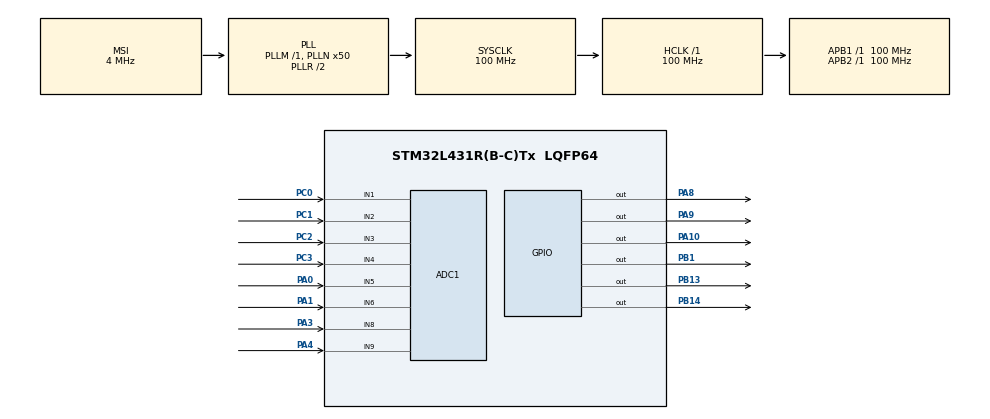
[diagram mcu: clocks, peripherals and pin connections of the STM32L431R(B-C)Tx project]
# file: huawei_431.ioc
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ADC1.Channel-0\#ChannelRegularConversion=ADC_CHANNEL_1
ADC1.Channel-1\#ChannelRegularConversion=ADC_CHANNEL_2
ADC1.Channel-2\#ChannelRegularConversion=ADC_CHANNEL_3
ADC1.Channel-3\#ChannelRegularConversion=ADC_CHANNEL_4
ADC1.Channel-4\#ChannelRegularConversion=ADC_CHANNEL_5
ADC1.Channel-5\#ChannelRegularConversion=ADC_CHANNEL_6
ADC1.Channel-6\#ChannelRegularConversion=ADC_CHANNEL_8
ADC1.Channel-7\#ChannelRegularConversion=ADC_CHANNEL_9
ADC1.ContinuousConvMode=ENABLE
ADC1.DMAContinuousRequests=DISABLE
ADC1.NbrOfConversion=8
ADC1.NbrOfConversionFlag=1
ADC1.OffsetNumber-0\#ChannelRegularConversion=ADC_OFFSET_NONE
ADC1.OffsetNumber-1\#ChannelRegularConversion=ADC_OFFSET_NONE
ADC1.OffsetNumber-2\#ChannelRegularConversion=ADC_OFFSET_NONE
ADC1.OffsetNumber-3\#ChannelRegularConversion=ADC_OFFSET_NONE
ADC1.OffsetNumber-4\#ChannelRegularConversion=ADC_OFFSET_NONE
ADC1.OffsetNumber-5\#ChannelRegularConversion=ADC_OFFSET_NONE
ADC1.OffsetNumber-6\#ChannelRegularConversion=ADC_OFFSET_NONE
ADC1.OffsetNumber-7\#ChannelRegularConversion=ADC_OFFSET_NONE
ADC1.OversamplingMode=ENABLE
ADC1.Rank-0\#ChannelRegularConversion=1
ADC1.Rank-1\#ChannelRegularConversion=2
ADC1.Rank-2\#ChannelRegularConversion=3
ADC1.Rank-3\#ChannelRegularConversion=4
ADC1.Rank-4\#ChannelRegularConversion=5
ADC1.Rank-5\#ChannelRegularConversion=6
ADC1.Rank-6\#ChannelRegularConversion=7
ADC1.Rank-7\#ChannelRegularConversion=8
ADC1.Ratio=ADC_OVERSAMPLING_RATIO_8
ADC1.RightBitShift=ADC_RIGHTBITSHIFT_3
ADC1.SamplingTime-0\#ChannelRegularConversion=ADC_SAMPLETIME_6CYCLES_5
ADC1.SamplingTime-1\#ChannelRegularConversion=ADC_SAMPLETIME_6CYCLES_5
ADC1.SamplingTime-2\#ChannelRegularConversion=ADC_SAMPLETIME_6CYCLES_5
ADC1.SamplingTime-3\#ChannelRegularConversion=ADC_SAMPLETIME_6CYCLES_5
ADC1.SamplingTime-4\#ChannelRegularConversion=ADC_SAMPLETIME_6CYCLES_5
ADC1.SamplingTime-5\#ChannelRegularConversion=ADC_SAMPLETIME_6CYCLES_5
ADC1.SamplingTime-6\#ChannelRegularConversion=ADC_SAMPLETIME_6CYCLES_5
ADC1.SamplingTime-7\#ChannelRegularConversion=ADC_SAMPLETIME_6CYCLES_5
ADC1.master=1
Mcu.Family=STM32L4
Mcu.Name=STM32L431R(B-C)Tx
Mcu.Package=LQFP64
NVIC.PriorityGroup=NVIC_PRIORITYGROUP_4
NVIC.TIM1_UP_TIM16_IRQn=true\:0\:0\:false\:false\:true\:true\:true\:true
NVIC.TIM7_IRQn=true\:1\:0\:true\:false\:true\:true\:true\:true
PA0.Signal=ADCx_IN5
PA1.Signal=ADCx_IN6
PA10.GPIO_Speed=GPIO_SPEED_FREQ_VERY_HIGH
PA10.Signal=GPIO_Output
PA13\ (JTMS-SWDIO).Mode=Serial_Wire
PA13\ (JTMS-SWDIO).Signal=SYS_JTMS-SWDIO
PA14\ (JTCK-SWCLK).Mode=Serial_Wire
PA14\ (JTCK-SWCLK).Signal=SYS_JTCK-SWCLK
PA3.Signal=ADCx_IN8
PA4.Signal=ADCx_IN9
PA8.GPIO_Speed=GPIO_SPEED_FREQ_VERY_HIGH
PA8.PinState=GPIO_PIN_RESET
PA8.Signal=GPIO_Output
PA9.GPIO_Speed=GPIO_SPEED_FREQ_VERY_HIGH
PA9.Signal=GPIO_Output
PB1.GPIO_Speed=GPIO_SPEED_FREQ_VERY_HIGH
PB1.Signal=GPIO_Output
PB13.GPIO_Speed=GPIO_SPEED_FREQ_VERY_HIGH
PB13.Signal=GPIO_Output
PB14.GPIO_Speed=GPIO_SPEED_FREQ_VERY_HIGH
PB14.Signal=GPIO_Output
PC0.Signal=ADCx_IN1
PC1.Signal=ADCx_IN2
PC2.Signal=ADCx_IN3
PC3.Signal=ADCx_IN4
ProjectManager.HeapSize=0x200
ProjectManager.StackSize=0x400
ProjectManager.TargetToolchain=CMake
RCC.ADCFreq_Value=48000000
RCC.AHBFreq_Value=100000000
RCC.APB1Freq_Value=100000000
RCC.APB1TimFreq_Value=100000000
RCC.APB2Freq_Value=100000000
RCC.APB2TimFreq_Value=100000000
RCC.CortexFreq_Value=100000000
RCC.HCLKFreq_Value=100000000
RCC.HSE_VALUE=8000000
RCC.HSI48_VALUE=48000000
RCC.HSI_VALUE=16000000
RCC.LSE_VALUE=32768
RCC.MSI_VALUE=4000000
RCC.PLLN=50
RCC.PLLSAI1N=24
RCC.SYSCLKFreq_VALUE=100000000
RCC.SYSCLKSource=RCC_SYSCLKSOURCE_PLLCLK
RCC.VCOOutputFreq_Value=200000000
SH.ADCx_IN1.0=ADC1_IN1,IN1-Single-Ended
SH.ADCx_IN2.0=ADC1_IN2,IN2-Single-Ended
SH.ADCx_IN3.0=ADC1_IN3,IN3-Single-Ended
SH.ADCx_IN4.0=ADC1_IN4,IN4-Single-Ended
SH.ADCx_IN5.0=ADC1_IN5,IN5-Single-Ended
SH.ADCx_IN6.0=ADC1_IN6,IN6-Single-Ended
SH.ADCx_IN8.0=ADC1_IN8,IN8-Single-Ended
SH.ADCx_IN9.0=ADC1_IN9,IN9-Single-Ended
TIM1.AutoReloadPreload=TIM_AUTORELOAD_PRELOAD_ENABLE
TIM1.Period=200-1
TIM7.AutoReloadPreload=TIM_AUTORELOAD_PRELOAD_ENABLE
TIM7.Period=10000-1
TIM7.Prescaler=10-1
VP_TIM1_VS_ClockSourceINT.Mode=Internal
VP_TIM7_VS_ClockSourceINT.Mode=Enable_Timer
board=custom

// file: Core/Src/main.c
/* USER CODE BEGIN Header */
/**
  ******************************************************************************
  * @file           : main.c
  * @brief          : Main program body
  ******************************************************************************
  * @attention
  *
  * Copyright (c) 2026 STMicroelectronics.
  * All rights reserved.
  *
  * This software is licensed under terms that can be found in the LICENSE file
  * in the root directory of this software component.
  * If no LICENSE file accompanies this software, it is provided AS-IS.
  *
  ******************************************************************************
  */
/* USER CODE END Header */
#include "main.h"

/* USER CODE BEGIN Includes */
#include "arm_math.h"
/* USER CODE END Includes */

/* USER CODE BEGIN PM */
// ========== TCM ZVS 全桥逆变器参数 ==========
// 正半周用对角1(AH+BL)，负半周用对角2(AL+BH)
volatile float32_t g_out_freq_hz = 50.0f;      // 输出频率 50Hz
volatile float32_t g_fsw_center = 10000.0f;   // 中心频率 10kHz
volatile float32_t g_fsw_delta = 10000.0f;     // 频率变化量 10kHz
volatile float32_t g_voltage_output = 0.8f;    // 电压控制 0~1
volatile float32_t g_duty_cycle = 0.8f;        // 基础占空比 30%

// ========== Sin/Cos查表 (360点，每度一个值) ==========
#define SIN_TABLE_SIZE 360
static const float32_t sin_table[360] = {
    0.0000f, 0.0175f, 0.0349f, 0.0523f, 0.0698f, 0.0872f, 0.1045f, 0.1219f, 0.1392f, 0.1564f,
    0.1736f, 0.1908f, 0.2079f, 0.2250f, 0.2419f, 0.2588f, 0.2756f, 0.2924f, 0.3090f, 0.3256f,
    0.3420f, 0.3584f, 0.3746f, 0.3907f, 0.4067f, 0.4226f, 0.4384f, 0.4540f, 0.4695f, 0.4848f,
    0.5000f, 0.5150f, 0.5299f, 0.5446f, 0.5592f, 0.5736f, 0.5878f, 0.6018f, 0.6157f, 0.6293f,
    0.6428f, 0.6561f, 0.6691f, 0.6820f, 0.6947f, 0.7071f, 0.7193f, 0.7314f, 0.7431f, 0.7547f,
    0.7660f, 0.7771f, 0.7880f, 0.7986f, 0.8090f, 0.8192f, 0.8290f, 0.8387f, 0.8480f, 0.8572f,
    0.8660f, 0.8746f, 0.8829f, 0.8910f, 0.8988f, 0.9063f, 0.9135f, 0.9205f, 0.9272f, 0.9336f,
    0.9397f, 0.9455f, 0.9511f, 0.9563f, 0.9613f, 0.9659f, 0.9703f, 0.9744f, 0.9781f, 0.9816f,
    0.9848f, 0.9877f, 0.9903f, 0.9925f, 0.9945f, 0.9962f, 0.9976f, 0.9986f, 0.9994f, 0.9998f,
    1.0000f, 0.9998f, 0.9994f, 0.9986f, 0.9976f, 0.9962f, 0.9945f, 0.9925f, 0.9903f, 0.9877f,
    0.9848f, 0.9816f, 0.9781f, 0.9744f, 0.9703f, 0.9659f, 0.9613f, 0.9563f, 0.9511f, 0.9455f,
    0.9397f, 0.9336f, 0.9272f, 0.9205f, 0.9135f, 0.9063f, 0.8988f, 0.8910f, 0.8829f, 0.8746f,
    0.8660f, 0.8572f, 0.8480f, 0.8387f, 0.8290f, 0.8192f, 0.8090f, 0.7986f, 0.7880f, 0.7771f,
    0.7660f, 0.7547f, 0.7431f, 0.7314f, 0.7193f, 0.7071f, 0.6947f, 0.6820f, 0.6691f, 0.6561f,
    0.6428f, 0.6293f, 0.6157f, 0.6018f, 0.5878f, 0.5736f, 0.5592f, 0.5446f, 0.5299f, 0.5150f,
    0.5000f, 0.4848f, 0.4695f, 0.4540f, 0.4384f, 0.4226f, 0.4067f, 0.3907f, 0.3746f, 0.3584f,
    0.3420f, 0.3256f, 0.3090f, 0.2924f, 0.2756f, 0.2588f, 0.2419f, 0.2250f, 0.2079f, 0.1908f,
    0.1736f, 0.1564f, 0.1392f, 0.1219f, 0.1045f, 0.0872f, 0.0698f, 0.0523f, 0.0349f, 0.0175f,
    0.0000f,-0.0175f,-0.0349f,-0.0523f,-0.0698f,-0.0872f,-0.1045f,-0.1219f,-0.1392f,-0.1564f,
   -0.1736f,-0.1908f,-0.2079f,-0.2250f,-0.2419f,-0.2588f,-0.2756f,-0.2924f,-0.3090f,-0.3256f,
   -0.3420f,-0.3584f,-0.3746f,-0.3907f,-0.4067f,-0.4226f,-0.4384f,-0.4540f,-0.4695f,-0.4848f,
   -0.5000f,-0.5150f,-0.5299f,-0.5446f,-0.5592f,-0.5736f,-0.5878f,-0.6018f,-0.6157f,-0.6293f,
   -0.6428f,-0.6561f,-0.6691f,-0.6820f,-0.6947f,-0.7071f,-0.7193f,-0.7314f,-0.7431f,-0.7547f,
   -0.7660f,-0.7771f,-0.7880f,-0.7986f,-0.8090f,-0.8192f,-0.8290f,-0.8387f,-0.8480f,-0.8572f,
   -0.8660f,-0.8746f,-0.8829f,-0.8910f,-0.8988f,-0.9063f,-0.9135f,-0.9205f,-0.9272f,-0.9336f,
   -0.9397f,-0.9455f,-0.9511f,-0.9563f,-0.9613f,-0.9659f,-0.9703f,-0.9744f,-0.9781f,-0.9816f,
   -0.9848f,-0.9877f,-0.9903f,-0.9925f,-0.9945f,-0.9962f,-0.9976f,-0.9986f,-0.9994f,-0.9998f,
   -1.0000f,-0.9998f,-0.9994f,-0.9986f,-0.9976f,-0.9962f,-0.9945f,-0.9925f,-0.9903f,-0.9877f,
   -0.9848f,-0.9816f,-0.9781f,-0.9744f,-0.9703f,-0.9659f,-0.9613f,-0.9563f,-0.9511f,-0.9455f,
   -0.9397f,-0.9336f,-0.9272f,-0.9205f,-0.9135f,-0.9063f,-0.8988f,-0.8910f,-0.8829f,-0.8746f,
   -0.8660f,-0.8572f,-0.8480f,-0.8387f,-0.8290f,-0.8192f,-0.8090f,-0.7986f,-0.7880f,-0.7771f,
   -0.7660f,-0.7547f,-0.7431f,-0.7314f,-0.7193f,-0.7071f,-0.6947f,-0.6820f,-0.6691f,-0.6561f,
   -0.6428f,-0.6293f,-0.6157f,-0.6018f,-0.5878f,-0.5736f,-0.5592f,-0.5446f,-0.5299f,-0.5150f,
   -0.5000f,-0.4848f,-0.4695f,-0.4540f,-0.4384f,-0.4226f,-0.4067f,-0.3907f,-0.3746f,-0.3584f,
   -0.3420f,-0.3256f,-0.3090f,-0.2924f,-0.2756f,-0.2588f,-0.2419f,-0.2250f,-0.2079f,-0.1908f,
   -0.1736f,-0.1564f,-0.1392f,-0.1219f,-0.1045f,-0.0872f,-0.0698f,-0.0523f,-0.0349f,-0.0175f
};
// cos表 = sin表偏移90度
#define cos_table(idx) sin_table[((idx) + 90) % 360]

// ========== 单相+180°互补时钟 ==========
// TIM1中断频率 = 500kHz（ARR=200-1, 100MHz/200=500kHz）
#define TIM1_IRQ_FREQ   500000.0f

// 计数器和状态
volatile uint16_t g_phase_cnt = 0;
volatile uint16_t g_period = 40;
volatile uint16_t g_high_cnt = 12;

// 当前使用的对角 (0=都不, 1=对角1/正半周, 2=对角2/负半周)
volatile uint8_t g_active_diag = 1;

// 输出状态
#define STATE_HIGH      0
#define STATE_LOW       2
volatile uint8_t g_state = STATE_HIGH;

// ========== 单相互补PWM GPIO引脚定义 ==========
// A相: 高侧PA8, 低侧PB13
#define GPIO_AH_PORT    GPIOA
#define GPIO_AH_PIN     GPIO_PIN_8
#define GPIO_AL_PORT    GPIOB
#define GPIO_AL_PIN     GPIO_PIN_13

// B相(180°互补): 高侧PA9, 低侧PB14
#define GPIO_BH_PORT    GPIOA
#define GPIO_BH_PIN     GPIO_PIN_9
#define GPIO_BL_PORT    GPIOB
#define GPIO_BL_PIN     GPIO_PIN_14
/* USER CODE END PM */

ADC_HandleTypeDef hadc1;

TIM_HandleTypeDef htim1;
TIM_HandleTypeDef htim7;

void SystemClock_Config(void);
static void MX_GPIO_Init(void);
static void MX_ADC1_Init(void);
static void MX_TIM1_Init(void);
static void MX_TIM7_Init(void);

int main(void)
{

  /* MCU Configuration--------------------------------------------------------*/

  /* Reset of all peripherals, Initializes the Flash interface and the Systick. */
  HAL_Init();

  /* Configure the system clock */
  SystemClock_Config();

  /* Initialize all configured peripherals */
  MX_GPIO_Init();
  MX_ADC1_Init();
  MX_TIM1_Init();
  MX_TIM7_Init();
  /* USER CODE BEGIN 2 */
  HAL_TIM_Base_Start_IT(&htim1);
  HAL_TIM_Base_Start_IT(&htim7);
  /* USER CODE END 2 */

  /* Infinite loop */
  while (1)
  {

  }
}

void SystemClock_Config(void)
{
  RCC_OscInitTypeDef RCC_OscInitStruct = {0};
  RCC_ClkInitTypeDef RCC_ClkInitStruct = {0};

  /** Configure the main internal regulator output voltage
  */
  if (HAL_PWREx_ControlVoltageScaling(PWR_REGULATOR_VOLTAGE_SCALE1) != HAL_OK)
  {
    Error_Handler();
  }

  /** Initializes the RCC Oscillators according to the specified parameters
  * in the RCC_OscInitTypeDef structure.
  */
  RCC_OscInitStruct.OscillatorType = RCC_OSCILLATORTYPE_MSI;
  RCC_OscInitStruct.MSIState = RCC_MSI_ON;
  RCC_OscInitStruct.MSICalibrationValue = 0;
  RCC_OscInitStruct.MSIClockRange = RCC_MSIRANGE_6;
  RCC_OscInitStruct.PLL.PLLState = RCC_PLL_ON;
  RCC_OscInitStruct.PLL.PLLSource = RCC_PLLSOURCE_MSI;
  RCC_OscInitStruct.PLL.PLLM = 1;
  RCC_OscInitStruct.PLL.PLLN = 50;
  RCC_OscInitStruct.PLL.PLLP = RCC_PLLP_DIV7;
  RCC_OscInitStruct.PLL.PLLQ = RCC_PLLQ_DIV2;
  RCC_OscInitStruct.PLL.PLLR = RCC_PLLR_DIV2;
  if (HAL_RCC_OscConfig(&RCC_OscInitStruct) != HAL_OK)
  {
    Error_Handler();
  }

  /** Initializes the CPU, AHB and APB buses clocks
  */
  RCC_ClkInitStruct.ClockType = RCC_CLOCKTYPE_HCLK|RCC_CLOCKTYPE_SYSCLK
                              |RCC_CLOCKTYPE_PCLK1|RCC_CLOCKTYPE_PCLK2;
  RCC_ClkInitStruct.SYSCLKSource = RCC_SYSCLKSOURCE_PLLCLK;
  RCC_ClkInitStruct.AHBCLKDivider = RCC_SYSCLK_DIV1;
  RCC_ClkInitStruct.APB1CLKDivider = RCC_HCLK_DIV1;
  RCC_ClkInitStruct.APB2CLKDivider = RCC_HCLK_DIV1;

  if (HAL_RCC_ClockConfig(&RCC_ClkInitStruct, FLASH_LATENCY_4) != HAL_OK)
  {
    Error_Handler();
  }
}

static void MX_ADC1_Init(void)
{

  ADC_ChannelConfTypeDef sConfig = {0};

  /** Common config
  */
  hadc1.Instance = ADC1;
  hadc1.Init.ClockPrescaler = ADC_CLOCK_ASYNC_DIV1;
  hadc1.Init.Resolution = ADC_RESOLUTION_12B;
  hadc1.Init.DataAlign = ADC_DATAALIGN_RIGHT;
  hadc1.Init.ScanConvMode = ADC_SCAN_ENABLE;
  hadc1.Init.EOCSelection = ADC_EOC_SINGLE_CONV;
  hadc1.Init.LowPowerAutoWait = DISABLE;
  hadc1.Init.ContinuousConvMode = ENABLE;
  hadc1.Init.NbrOfConversion = 8;
  hadc1.Init.DiscontinuousConvMode = DISABLE;
  hadc1.Init.ExternalTrigConv = ADC_SOFTWARE_START;
  hadc1.Init.ExternalTrigConvEdge = ADC_EXTERNALTRIGCONVEDGE_NONE;
  hadc1.Init.DMAContinuousRequests = DISABLE;
  hadc1.Init.Overrun = ADC_OVR_DATA_PRESERVED;
  hadc1.Init.OversamplingMode = ENABLE;
  hadc1.Init.Oversampling.Ratio = ADC_OVERSAMPLING_RATIO_8;
  hadc1.Init.Oversampling.RightBitShift = ADC_RIGHTBITSHIFT_3;
  hadc1.Init.Oversampling.TriggeredMode = ADC_TRIGGEREDMODE_SINGLE_TRIGGER;
  hadc1.Init.Oversampling.OversamplingStopReset = ADC_REGOVERSAMPLING_CONTINUED_MODE;
  if (HAL_ADC_Init(&hadc1) != HAL_OK)
  {
    Error_Handler();
  }

  /** Configure Regular Channel
  */
  sConfig.Channel = ADC_CHANNEL_1;
  sConfig.Rank = ADC_REGULAR_RANK_1;
  sConfig.SamplingTime = ADC_SAMPLETIME_6CYCLES_5;
  sConfig.SingleDiff = ADC_SINGLE_ENDED;
  sConfig.OffsetNumber = ADC_OFFSET_NONE;
  sConfig.Offset = 0;
  if (HAL_ADC_ConfigChannel(&hadc1, &sConfig) != HAL_OK)
  {
    Error_Handler();
  }

  /** Configure Regular Channel
  */
  sConfig.Channel = ADC_CHANNEL_2;
  sConfig.Rank = ADC_REGULAR_RANK_2;
  if (HAL_ADC_ConfigChannel(&hadc1, &sConfig) != HAL_OK)
  {
    Error_Handler();
  }

  /** Configure Regular Channel
  */
  sConfig.Channel = ADC_CHANNEL_3;
  sConfig.Rank = ADC_REGULAR_RANK_3;
  if (HAL_ADC_ConfigChannel(&hadc1, &sConfig) != HAL_OK)
  {
    Error_Handler();
  }

  /** Configure Regular Channel
  */
  sConfig.Channel = ADC_CHANNEL_4;
  sConfig.Rank = ADC_REGULAR_RANK_4;
  if (HAL_ADC_ConfigChannel(&hadc1, &sConfig) != HAL_OK)
  {
    Error_Handler();
  }

  /** Configure Regular Channel
  */
  sConfig.Channel = ADC_CHANNEL_5;
  sConfig.Rank = ADC_REGULAR_RANK_5;
  if (HAL_ADC_ConfigChannel(&hadc1, &sConfig) != HAL_OK)
  {
    Error_Handler();
  }

  /** Configure Regular Channel
  */
  sConfig.Channel = ADC_CHANNEL_6;
  sConfig.Rank = ADC_REGULAR_RANK_6;
  if (HAL_ADC_ConfigChannel(&hadc1, &sConfig) != HAL_OK)
  {
    Error_Handler();
  }

  /** Configure Regular Channel
  */
  sConfig.Channel = ADC_CHANNEL_8;
  sConfig.Rank = ADC_REGULAR_RANK_7;
  if (HAL_ADC_ConfigChannel(&hadc1, &sConfig) != HAL_OK)
  {
    Error_Handler();
  }

  /** Configure Regular Channel
  */
  sConfig.Channel = ADC_CHANNEL_9;
  sConfig.Rank = ADC_REGULAR_RANK_8;
  if (HAL_ADC_ConfigChannel(&hadc1, &sConfig) != HAL_OK)
  {
    Error_Handler();
  }

}

static void MX_TIM1_Init(void)
{

  TIM_ClockConfigTypeDef sClockSourceConfig = {0};
  TIM_MasterConfigTypeDef sMasterConfig = {0};

  htim1.Instance = TIM1;
  htim1.Init.Prescaler = 0;
  htim1.Init.CounterMode = TIM_COUNTERMODE_UP;
  htim1.Init.Period = 200-1;
  htim1.Init.ClockDivision = TIM_CLOCKDIVISION_DIV1;
  htim1.Init.RepetitionCounter = 0;
  htim1.Init.AutoReloadPreload = TIM_AUTORELOAD_PRELOAD_ENABLE;
  if (HAL_TIM_Base_Init(&htim1) != HAL_OK)
  {
    Error_Handler();
  }
  sClockSourceConfig.ClockSource = TIM_CLOCKSOURCE_INTERNAL;
  if (HAL_TIM_ConfigClockSource(&htim1, &sClockSourceConfig) != HAL_OK)
  {
    Error_Handler();
  }
  sMasterConfig.MasterOutputTrigger = TIM_TRGO_RESET;
  sMasterConfig.MasterOutputTrigger2 = TIM_TRGO2_RESET;
  sMasterConfig.MasterSlaveMode = TIM_MASTERSLAVEMODE_DISABLE;
  if (HAL_TIMEx_MasterConfigSynchronization(&htim1, &sMasterConfig) != HAL_OK)
  {
    Error_Handler();
  }

}

static void MX_TIM7_Init(void)
{

  TIM_MasterConfigTypeDef sMasterConfig = {0};

  htim7.Instance = TIM7;
  htim7.Init.Prescaler = 10-1;
  htim7.Init.CounterMode = TIM_COUNTERMODE_UP;
  htim7.Init.Period = 10000-1;
  htim7.Init.AutoReloadPreload = TIM_AUTORELOAD_PRELOAD_ENABLE;
  if (HAL_TIM_Base_Init(&htim7) != HAL_OK)
  {
    Error_Handler();
  }
  sMasterConfig.MasterOutputTrigger = TIM_TRGO_RESET;
  sMasterConfig.MasterSlaveMode = TIM_MASTERSLAVEMODE_DISABLE;
  if (HAL_TIMEx_MasterConfigSynchronization(&htim7, &sMasterConfig) != HAL_OK)
  {
    Error_Handler();
  }
  /* USER CODE BEGIN TIM7_Init 2 */
  // TIM7 = 1kHz (ARR=100000-1, 100MHz/100000=1kHz)
  /* USER CODE END TIM7_Init 2 */

}

static void MX_GPIO_Init(void)
{
  GPIO_InitTypeDef GPIO_InitStruct = {0};

  /* GPIO Ports Clock Enable */
  __HAL_RCC_GPIOC_CLK_ENABLE();
  __HAL_RCC_GPIOA_CLK_ENABLE();
  __HAL_RCC_GPIOB_CLK_ENABLE();

  /*Configure GPIO pin Output Level */
  HAL_GPIO_WritePin(GPIOB, GPIO_PIN_13|GPIO_PIN_14, GPIO_PIN_RESET);

  /*Configure GPIO pin Output Level */
  HAL_GPIO_WritePin(GPIOA, GPIO_PIN_8|GPIO_PIN_9, GPIO_PIN_RESET);

  /*Configure GPIO pins : PB13 PB14 */
  GPIO_InitStruct.Pin = GPIO_PIN_13|GPIO_PIN_14;
  GPIO_InitStruct.Mode = GPIO_MODE_OUTPUT_PP;
  GPIO_InitStruct.Pull = GPIO_NOPULL;
  GPIO_InitStruct.Speed = GPIO_SPEED_FREQ_VERY_HIGH;
  HAL_GPIO_Init(GPIOB, &GPIO_InitStruct);

  /*Configure GPIO pins : PA8 PA9 */
  GPIO_InitStruct.Pin = GPIO_PIN_8|GPIO_PIN_9;
  GPIO_InitStruct.Mode = GPIO_MODE_OUTPUT_PP;
  GPIO_InitStruct.Pull = GPIO_NOPULL;
  GPIO_InitStruct.Speed = GPIO_SPEED_FREQ_VERY_HIGH;
  HAL_GPIO_Init(GPIOA, &GPIO_InitStruct);

}

/* USER CODE BEGIN 4 */

// TIM1 500kHz中断 - C语言版本
// TCM ZVS全桥逆变器: 正半周用对角1(AH+BL)，负半周用对角2(AL+BH)
void TIM1_Update_Handler(void)
{
    g_phase_cnt++;

    if (g_phase_cnt >= g_period) {
        // 周期结束，复位到HIGH
        g_phase_cnt = 0;
        g_state = STATE_HIGH;

        // 根据当前对角设置GPIO
        if (g_active_diag == 1) {
            // 对角1: AH=1, BL=1, AL=0, BH=0 (正半周)
            GPIOA->BSRR = GPIO_PIN_8;   // AH on
            GPIOB->BSRR = GPIO_PIN_14;  // BL on
            GPIOA->BRR = GPIO_PIN_9;    // BH off
            GPIOB->BRR = GPIO_PIN_13;   // AL off
        } else if (g_active_diag == 2) {
            // 对角2: AL=1, BH=1, AH=0, BL=0 (负半周)
            GPIOB->BSRR = GPIO_PIN_13;  // AL on
            GPIOA->BSRR = GPIO_PIN_9;   // BH on
            GPIOA->BRR = GPIO_PIN_8;    // AH off
            GPIOB->BRR = GPIO_PIN_14;   // BL off
        } else {
            // 零交叉，都关闭
            GPIOA->BRR = GPIO_PIN_8 | GPIO_PIN_9;
            GPIOB->BRR = GPIO_PIN_13 | GPIO_PIN_14;
        }
    } else if (g_phase_cnt >= g_high_cnt && g_state == STATE_HIGH) {
        // 切换到LOW（续流）- 关断所有管子，通过体二极管续流实现ZVS
        g_state = STATE_LOW;
        GPIOA->BRR = GPIO_PIN_8 | GPIO_PIN_9;   // AH, BH off
        GPIOB->BRR = GPIO_PIN_13 | GPIO_PIN_14; // AL, BL off
    }
}

// TIM7 1kHz中断 - 计算TCM ZVS参数
// 正半周用对角1(AH+BL)，负半周用对角2(AL+BH)
void HAL_TIM_PeriodElapsedCallback(TIM_HandleTypeDef *htim)
{
  static uint16_t phase_idx = 0;     // 查表索引 0-359
  static float phase_accum = 0.0f;  // 相位累加器（保存小数精度）

  if (htim->Instance == TIM7)
  {
    // 更新相位索引（使用累加器保证精度）
    phase_accum += g_out_freq_hz * 360.0f / 1000.0f;
    if (phase_accum >= 360.0f) {
      phase_accum -= 360.0f;
    }
    phase_idx = (uint16_t)phase_accum;

    // 查表获取sin值
    float32_t sin_val = sin_table[phase_idx];

    // 选择对角: sin>=0用对角1(正半周), sin<0用对角2(负半周)
    if (sin_val >= 0) {
      g_active_diag = 1;  // AH+BL
    } else {
      g_active_diag = 2;  // AL+BH
    }

    // TCM ZVS: 频率随sin变化
    float32_t abs_sin = (sin_val >= 0) ? sin_val : -sin_val;
    float32_t f_sw = g_fsw_center - g_fsw_delta * abs_sin * g_voltage_output;

    g_period = (uint16_t)(TIM1_IRQ_FREQ / f_sw);

    // ZVS固定占空比
    g_high_cnt = (uint16_t)(g_period * g_duty_cycle);
  }
}
/* USER CODE END 4 */

void Error_Handler(void)
{
  __disable_irq();
  while (1)
  {
  }
}
